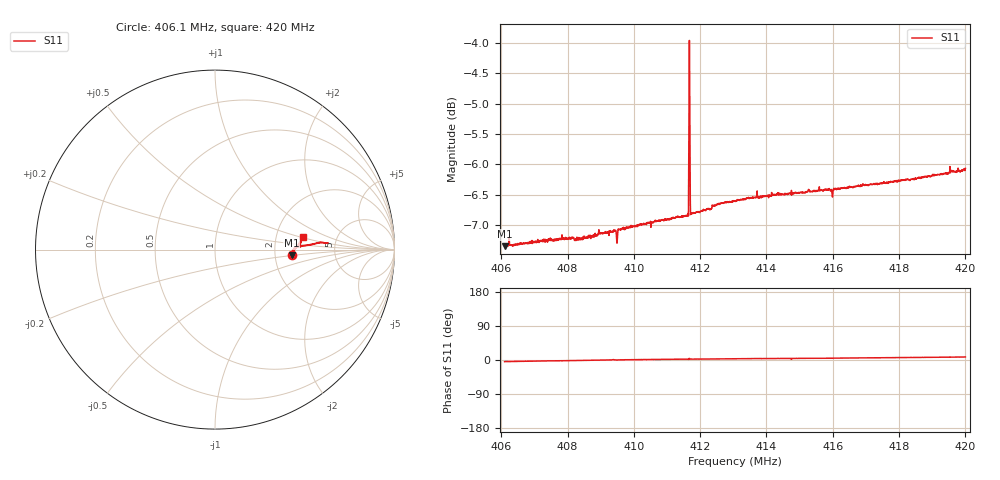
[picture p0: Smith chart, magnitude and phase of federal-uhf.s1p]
! Calibrated averaged scanner-service zoom
# Hz S RI R 50
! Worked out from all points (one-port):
!   2001 points, 406.1 MHz to 420 MHz, reference 50 ohm
!   lowest |S11| = -7.3 dB at 406.11 MHz (marker M1), VSWR 2.50, Z = 124 - j9.67 ohm
!   |S11| at or under -10 dB: nowhere
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4.061e8  0.4283 -0.0322
4.06107e8  0.428 -0.0318
4.073927e8  0.4321 -0.0152
4.078375e8  0.4348 -0.0146
4.083796e8  0.4342 -0.00902
4.093387e8  0.441 0.00185
4.09443e8  0.442 0.00217
4.09575e8  0.4429 0.0034
4.113125e8  0.4532 0.0161
4.115766e8  0.4543 0.0178
4.115905e8  0.454 0.0172
4.116114e8  0.4546 0.0172
4.116252e8  0.4552 0.0168
4.116948e8  0.5058 0.0231
4.117295e8  0.4561 0.0193
4.117364e8  0.4565 0.0188
4.117573e8  0.4563 0.0187
4.117642e8  0.4562 0.0185
4.117782e8  0.4564 0.0189
4.122855e8  0.4599 0.0205
4.125913e8  0.465 0.0225
4.1305e8  0.4667 0.0264
4.143496e8  0.4726 0.0341
4.147875e8  0.4737 0.0342
4.159829e8  0.4718 0.038
4.16525e8  0.4782 0.0445
4.182625e8  0.4841 0.0558
4.2e8  0.4925 0.0688
